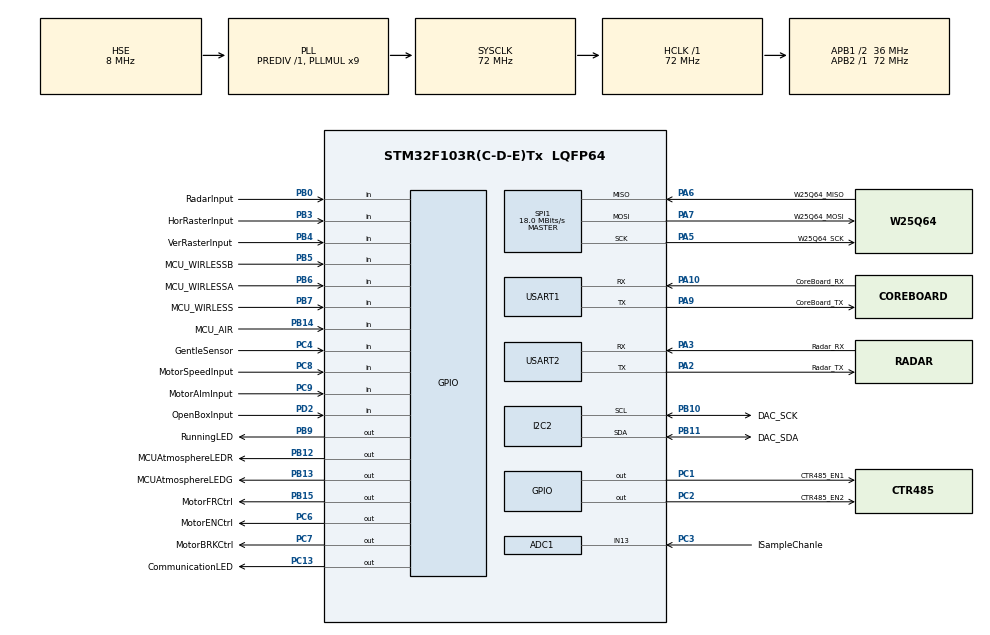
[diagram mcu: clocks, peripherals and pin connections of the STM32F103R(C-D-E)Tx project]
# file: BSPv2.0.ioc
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ADC1.Channel-0\#ChannelRegularConversion=ADC_CHANNEL_13
ADC1.Channel-1\#ChannelRegularConversion=ADC_CHANNEL_TEMPSENSOR
ADC1.ContinuousConvMode=DISABLE
ADC1.DataAlign=ADC_DATAALIGN_RIGHT
ADC1.DiscontinuousConvMode=DISABLE
ADC1.EnableAnalogWatchDog=false
ADC1.EnableRegularConversion=ENABLE
ADC1.ExternalTrigConv=ADC_SOFTWARE_START
ADC1.InjNumberOfConversion=0
ADC1.NbrOfConversion=2
ADC1.NbrOfConversionFlag=1
ADC1.Rank-0\#ChannelRegularConversion=1
ADC1.Rank-1\#ChannelRegularConversion=2
ADC1.SamplingTime-0\#ChannelRegularConversion=ADC_SAMPLETIME_239CYCLES_5
ADC1.SamplingTime-1\#ChannelRegularConversion=ADC_SAMPLETIME_239CYCLES_5
ADC1.ScanConvMode=ADC_SCAN_ENABLE
ADC1.master=1
Dma.ADC1.0.Direction=DMA_PERIPH_TO_MEMORY
Dma.ADC1.0.Instance=DMA1_Channel1
Dma.ADC1.0.MemDataAlignment=DMA_MDATAALIGN_WORD
Dma.ADC1.0.MemInc=DMA_MINC_ENABLE
Dma.ADC1.0.Mode=DMA_CIRCULAR
Dma.ADC1.0.PeriphDataAlignment=DMA_PDATAALIGN_WORD
Dma.ADC1.0.PeriphInc=DMA_PINC_DISABLE
Dma.ADC1.0.Priority=DMA_PRIORITY_LOW
Dma.Request0=ADC1
Dma.Request1=USART1_RX
Dma.Request2=USART2_RX
Dma.USART1_RX.1.Direction=DMA_PERIPH_TO_MEMORY
Dma.USART1_RX.1.Instance=DMA1_Channel5
Dma.USART1_RX.1.MemDataAlignment=DMA_MDATAALIGN_BYTE
Dma.USART1_RX.1.MemInc=DMA_MINC_ENABLE
Dma.USART1_RX.1.Mode=DMA_NORMAL
Dma.USART1_RX.1.PeriphDataAlignment=DMA_PDATAALIGN_BYTE
Dma.USART1_RX.1.PeriphInc=DMA_PINC_DISABLE
Dma.USART1_RX.1.Priority=DMA_PRIORITY_LOW
Dma.USART2_RX.2.Direction=DMA_PERIPH_TO_MEMORY
Dma.USART2_RX.2.Instance=DMA1_Channel6
Dma.USART2_RX.2.MemDataAlignment=DMA_MDATAALIGN_BYTE
Dma.USART2_RX.2.MemInc=DMA_MINC_ENABLE
Dma.USART2_RX.2.Mode=DMA_NORMAL
Dma.USART2_RX.2.PeriphDataAlignment=DMA_PDATAALIGN_BYTE
Dma.USART2_RX.2.PeriphInc=DMA_PINC_DISABLE
Dma.USART2_RX.2.Priority=DMA_PRIORITY_LOW
Mcu.Family=STM32F1
Mcu.Name=STM32F103R(C-D-E)Tx
Mcu.Package=LQFP64
NVIC.ADC1_2_IRQn=true\:0\:0\:false\:true\:true\:10\:true
NVIC.DMA1_Channel1_IRQn=true\:0\:0\:false\:true\:true\:5\:false
NVIC.DMA1_Channel5_IRQn=true\:0\:0\:false\:true\:true\:7\:false
NVIC.DMA1_Channel6_IRQn=true\:0\:0\:false\:true\:true\:8\:false
NVIC.I2C2_ER_IRQn=true\:0\:0\:false\:true\:true\:12\:true
NVIC.I2C2_EV_IRQn=true\:0\:0\:false\:true\:true\:11\:true
NVIC.PriorityGroup=NVIC_PRIORITYGROUP_4
NVIC.SPI1_IRQn=true\:0\:0\:false\:false\:true\:true
NVIC.TIM4_IRQn=true\:0\:0\:false\:true\:true\:4\:true
NVIC.TIM5_IRQn=true\:0\:0\:false\:true\:true\:3\:true
NVIC.TIM6_IRQn=true\:0\:0\:false\:false\:true\:true
NVIC.USART1_IRQn=true\:0\:0\:false\:true\:true\:1\:true
NVIC.USART2_IRQn=true\:0\:0\:false\:true\:true\:2\:true
PA10.GPIO_Label=CoreBoard_RX
PA10.GPIO_PuPd=GPIO_PULLUP
PA10.Mode=Asynchronous
PA10.Signal=USART1_RX
PA13.Mode=Serial_Wire
PA13.Signal=SYS_JTMS-SWDIO
PA14.Mode=Serial_Wire
PA14.Signal=SYS_JTCK-SWCLK
PA2.GPIO_Label=Radar_TX
PA2.Mode=Asynchronous
PA2.Signal=USART2_TX
PA3.GPIO_Label=Radar_RX
PA3.GPIO_PuPd=GPIO_PULLUP
PA3.Mode=Asynchronous
PA3.Signal=USART2_RX
PA5.GPIO_Label=W25Q64_SCK
PA5.Mode=Full_Duplex_Master
PA5.Signal=SPI1_SCK
PA6.GPIO_Label=W25Q64_MISO
PA6.Mode=Full_Duplex_Master
PA6.Signal=SPI1_MISO
PA7.GPIO_Label=W25Q64_MOSI
PA7.Mode=Full_Duplex_Master
PA7.Signal=SPI1_MOSI
PA9.GPIO_Label=CoreBoard_TX
PA9.Mode=Asynchronous
PA9.Signal=USART1_TX
PB0.GPIO_Label=RadarInput
PB0.GPIO_PuPd=GPIO_PULLUP
PB0.Signal=GPIO_Input
PB10.GPIO_Label=DAC_SCK
PB10.Mode=I2C
PB10.Signal=I2C2_SCL
PB11.GPIO_Label=DAC_SDA
PB11.Mode=I2C
PB11.Signal=I2C2_SDA
PB12.GPIO_Label=MCUAtmosphereLEDR
PB12.Signal=GPIO_Output
PB13.GPIO_Label=MCUAtmosphereLEDG
PB13.Signal=GPIO_Output
PB14.GPIO_Label=MCU_AIR
PB14.Signal=GPIO_Input
PB15.GPIO_Label=MotorFRCtrl
PB15.Signal=GPIO_Output
PB3.GPIO_Label=HorRasterInput
PB3.GPIO_PuPd=GPIO_PULLUP
PB3.Signal=GPIO_Input
PB4.GPIO_Label=VerRasterInput
PB4.GPIO_PuPd=GPIO_PULLDOWN
PB4.Signal=GPIO_Input
PB5.GPIO_Label=MCU_WIRLESSB
PB5.Signal=GPIO_Input
PB6.GPIO_Label=MCU_WIRLESSA
PB6.Signal=GPIO_Input
PB7.GPIO_Label=MCU_WIRLESS
PB7.GPIO_PuPd=GPIO_PULLUP
PB7.Signal=GPIO_Input
PB9.GPIO_Label=RunningLED
PB9.Signal=GPIO_Output
PC1.GPIO_Label=CTR485_EN1
PC1.GPIO_ModeDefaultOutputPP=GPIO_MODE_OUTPUT_PP
PC1.PinState=GPIO_PIN_RESET
PC1.Signal=GPIO_Output
PC13-TAMPER-RTC.GPIO_Label=CommunicationLED
PC13-TAMPER-RTC.Signal=GPIO_Output
PC2.GPIO_Label=CTR485_EN2
PC2.Signal=GPIO_Output
PC3.GPIO_Label=ISampleChanle
PC3.Signal=ADCx_IN13
PC4.GPIO_Label=GentleSensor
PC4.GPIO_PuPd=GPIO_PULLUP
PC4.Signal=GPIO_Input
PC6.GPIO_Label=MotorENCtrl
PC6.Signal=GPIO_Output
PC7.GPIO_Label=MotorBRKCtrl
PC7.Signal=GPIO_Output
PC8.GPIO_Label=MotorSpeedInput
PC8.GPIO_PuPd=GPIO_PULLUP
PC8.Signal=GPIO_Input
PC9.GPIO_Label=MotorAlmInput
PC9.GPIO_PuPd=GPIO_PULLDOWN
PC9.Signal=GPIO_Input
PD0-OSC_IN.Mode=HSE-External-Oscillator
PD0-OSC_IN.Signal=RCC_OSC_IN
PD1-OSC_OUT.Mode=HSE-External-Oscillator
PD1-OSC_OUT.Signal=RCC_OSC_OUT
PD2.GPIO_Label=OpenBoxInput
PD2.Signal=GPIO_Input
ProjectManager.HeapSize=0x200
ProjectManager.StackSize=0x400
ProjectManager.TargetToolchain=EWARM
RCC.ADCPresc=RCC_ADCPCLK2_DIV6
RCC.AHBFreq_Value=72000000
RCC.APB1CLKDivider=RCC_HCLK_DIV2
RCC.APB1Freq_Value=36000000
RCC.APB1TimFreq_Value=72000000
RCC.APB2Freq_Value=72000000
RCC.APB2TimFreq_Value=72000000
RCC.HCLKFreq_Value=72000000
RCC.PLLMUL=RCC_PLL_MUL9
RCC.PLLSourceVirtual=RCC_PLLSOURCE_HSE
RCC.SYSCLKFreq_VALUE=72000000
RCC.SYSCLKSource=RCC_SYSCLKSOURCE_PLLCLK
RCC.USBFreq_Value=72000000
SH.ADCx_IN13.0=ADC1_IN13,IN13
SPI1.BaudRatePrescaler=SPI_BAUDRATEPRESCALER_4
SPI1.CalculateBaudRate=18.0 MBits/s
SPI1.DataSize=SPI_DATASIZE_16BIT
SPI1.Direction=SPI_DIRECTION_2LINES
SPI1.Mode=SPI_MODE_MASTER
SPI1.VirtualType=VM_MASTER
TIM4.Period=50-1
TIM4.Prescaler=72 - 1
TIM5.Period=1000-1
TIM5.Prescaler=72 - 1
TIM6.Period=200-1
TIM6.Prescaler=72-1
USART1.VirtualMode=VM_ASYNC
USART2.VirtualMode=VM_ASYNC
VP_ADC1_TempSens_Input.Mode=IN-TempSens
VP_TIM4_VS_ClockSourceINT.Mode=Internal
VP_TIM5_VS_ClockSourceINT.Mode=Internal
VP_TIM6_VS_ClockSourceINT.Mode=Enable_Timer
board=BSPv2.0

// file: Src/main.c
/**
  ******************************************************************************
  * @file           : main.c
  * @brief          : Main program body
  ******************************************************************************
  ** This notice applies to any and all portions of this file
  * that are not between comment pairs USER CODE BEGIN and
  * USER CODE END. Other portions of this file, whether
  * inserted by the user or by software development tools
  * are owned by their respective copyright owners.
  *
  * COPYRIGHT(c) 2018 STMicroelectronics
  *
  * Redistribution and use in source and binary forms, with or without modification,
  * are permitted provided that the following conditions are met:
  *   1. Redistributions of source code must retain the above copyright notice,
  *      this list of conditions and the following disclaimer.
  *   2. Redistributions in binary form must reproduce the above copyright notice,
  *      this list of conditions and the following disclaimer in the documentation
  *      and/or other materials provided with the distribution.
  *   3. Neither the name of STMicroelectronics nor the names of its contributors
  *      may be used to endorse or promote products derived from this software
  *      without specific prior written permission.
  *
  * THIS SOFTWARE IS PROVIDED BY THE COPYRIGHT HOLDERS AND CONTRIBUTORS "AS IS"
  * AND ANY EXPRESS OR IMPLIED WARRANTIES, INCLUDING, BUT NOT LIMITED TO, THE
  * IMPLIED WARRANTIES OF MERCHANTABILITY AND FITNESS FOR A PARTICULAR PURPOSE ARE
  * DISCLAIMED. IN NO EVENT SHALL THE COPYRIGHT HOLDER OR CONTRIBUTORS BE LIABLE
  * FOR ANY DIRECT, INDIRECT, INCIDENTAL, SPECIAL, EXEMPLARY, OR CONSEQUENTIAL
  * DAMAGES (INCLUDING, BUT NOT LIMITED TO, PROCUREMENT OF SUBSTITUTE GOODS OR
  * SERVICES; LOSS OF USE, DATA, OR PROFITS; OR BUSINESS INTERRUPTION) HOWEVER
  * CAUSED AND ON ANY THEORY OF LIABILITY, WHETHER IN CONTRACT, STRICT LIABILITY,
  * OR TORT (INCLUDING NEGLIGENCE OR OTHERWISE) ARISING IN ANY WAY OUT OF THE USE
  * OF THIS SOFTWARE, EVEN IF ADVISED OF THE POSSIBILITY OF SUCH DAMAGE.
  *
  ******************************************************************************
  */
#include "main.h"
#include "stm32f1xx_hal.h"
#include "adc.h"
#include "dma.h"
#include "i2c.h"
#include "spi.h"
#include "tim.h"
#include "usart.h"
#include "gpio.h"

/* USER CODE BEGIN Includes */
#include "bsp_gentlesensor.h"
#include "bsp_common.h"
#include "bsp_motor.h"
#include "bsp_led.h"
#include "BSP_DAC5571.h"
#include "bsp_DataTransmissionLayer.h"
#include "bsp_ProtocolLayer.h"
#include "bsp_AirSensor.h"
#include "bsp_Log.h"
#include "bsp_RemoteControl.h"

/* USER CODE END Includes */

/* USER CODE BEGIN PV */
/* Private variables ---------------------------------------------------------*/
/*软件版本号*/
#define  CODEVERSION		0x0201

WIRLESS gWIRLESS;
MOTORMACHINE gMotorMachine;
GPIOSTATUSDETECTION gGentleSensorStatusDetection;
AirSensor gAirSensor;

//开闸控速矩阵
uint8_t Speed15SBuf[300] = {
 47 , 52 , 56 , 59 , 62 , 64 , 67 , 69 , 71 , 73 ,
 75 , 77 , 79 , 80 , 82 , 83 , 85 , 86 , 88 , 89 ,
 91 , 92 , 93 , 94 , 96 , 97 , 98 , 99 ,100 ,102 ,
103 ,104 ,105 ,106 ,107 ,108 ,109 ,110 ,111 ,112 ,
113 ,114 ,115 ,116 ,117 ,118 ,118 ,119 ,120 ,121 ,
122 ,123 ,124 ,124 ,125 ,126 ,127 ,128 ,129 ,129 ,
130 ,131 ,132 ,132 ,133 ,134 ,135 ,135 ,136 ,137 ,
138 ,138 ,139 ,140 ,141 ,141 ,142 ,143 ,143 ,144 ,
145 ,145 ,146 ,147 ,147 ,148 ,149 ,149 ,150 ,151 ,
151 ,152 ,153 ,153 ,154 ,154 ,155 ,156 ,156 ,157 ,
158 ,158 ,159 ,159 ,160 ,161 ,161 ,162 ,162 ,163 ,
164 ,164 ,165 ,165 ,166 ,166 ,167 ,168 ,168 ,169 ,
169 ,170 ,170 ,171 ,171 ,172 ,173 ,173 ,174 ,174 ,
175 ,175 ,176 ,176 ,177 ,177 ,178 ,178 ,179 ,179 ,
180 ,180 ,181 ,181 ,182 ,182 ,183 ,183 ,184 ,184 ,
184 ,183 ,183 ,182 ,182 ,181 ,181 ,180 ,180 ,179 ,
179 ,178 ,178 ,177 ,177 ,176 ,176 ,175 ,175 ,174 ,
174 ,173 ,173 ,172 ,171 ,171 ,170 ,170 ,169 ,169 ,
168 ,168 ,167 ,166 ,166 ,165 ,165 ,164 ,164 ,163 ,
162 ,162 ,161 ,161 ,160 ,159 ,159 ,158 ,158 ,157 ,
156 ,156 ,155 ,154 ,154 ,153 ,153 ,152 ,151 ,151 ,
150 ,149 ,149 ,148 ,147 ,147 ,146 ,145 ,145 ,144 ,
143 ,143 ,142 ,141 ,141 ,140 ,139 ,138 ,138 ,137 ,
136 ,135 ,135 ,134 ,133 ,132 ,132 ,131 ,130 ,129 ,
129 ,128 ,127 ,126 ,125 ,124 ,124 ,123 ,122 ,121 ,
120 ,119 ,118 ,118 ,117 ,116 ,115 ,114 ,113 ,112 ,
111 ,110 ,109 ,108 ,107 ,106 ,105 ,104 ,103 ,102 ,
100 , 99 , 98 , 97 , 96 , 94 , 93 , 92 , 91 , 89 ,
 88 , 86 , 85 , 83 , 82 , 80 , 79 , 77 , 75 , 73 ,
 71 , 69 , 67 , 64 , 62 , 59 , 56 , 52 , 47 , 35
};

uint8_t	  gWirlessFlag;

uint8_t   gWirlessOpenCurrentReadVal;
uint8_t   gWirlessOpenLastReadVal;
uint16_t  gWirlessOpenCnt;

uint8_t gwirlessCloseCurrentReadVal;
uint8_t gWirlessCloseLastReadVal;

uint8_t	gWirlessStopCurrentReadVal;
uint8_t gWirlessStopLastReadVal;

uint8_t	  gTimeoutFlag;	//开闸超时标记位，如果超时发送车未进场
uint8_t   gCarEnteredFlag; //车辆已经进场标记位

uint16_t  OpenSpeedCnt;
uint8_t   OpenSpeedFlag;

uint32_t gXDataBuffer[10];
uint32_t gADCBuffer[10];
uint32_t gICurrentValue;
uint16_t gICurrent;
uint8_t	 gICurrentValueBuff[2];

/*存放用于读取的电流数据*/
uint16_t gXDataBuf[10];
uint8_t  xCnt;
uint8_t  xSensorCnt;
uint16_t Xavg;
uint16_t AboveXAvg = 0x0FF;//2A电流时认为触发电子防砸

uint8_t gComingCarFlag;

uint8_t gHorCurrentRedVal;
uint8_t gHorLastCurrentRedVal;

uint8_t gVerCurrentRedVal;
uint8_t gVerLastRedVal;

uint8_t gStepCnterCurrentRedVal;
uint8_t gStepCnterLastRedVal;

uint8_t gLastStepValue;
uint8_t gCurrentStepValue;

uint8_t gTIM6Cnt;
uint8_t gTIM6Flag;
uint8_t gTIM6TwoFlag;
uint16_t gSpeed;

/*氛围灯标记以及氛围灯控制计时*/
uint8_t gAtmosphereTimFlag;
uint16_t gAtmosphereTimCnt;

/*关闭道闸定时器标记*/
uint8_t gCloseFlag;
uint32_t gCloseTimCnt;

/*定时日志上报*/
uint8_t  gReportLogFlag;
uint32_t gReportLogTimCnt;
/* USER CODE END PV */

void SystemClock_Config(void);
static void MX_NVIC_Init(void);

/* USER CODE BEGIN PFP */
/* Private function prototypes -----------------------------------------------*/
void FilterADCSignals(uint16_t xData);
void CheckCarEnteredFlag(void);
/* USER CODE END PFP */

int main(void)
{
  /* USER CODE BEGIN 1 */
	uint8_t i = 0;
  /* USER CODE END 1 */

  /* MCU Configuration----------------------------------------------------------*/

  /* Reset of all peripherals, Initializes the Flash interface and the Systick. */
  HAL_Init();

  /* Configure the system clock */
  SystemClock_Config();

  /* Initialize all configured peripherals */
  MX_GPIO_Init();
  MX_DMA_Init();
  MX_ADC1_Init();
  MX_I2C2_Init();
  MX_SPI1_Init();
  MX_TIM4_Init();
  MX_TIM5_Init();
  MX_USART1_UART_Init();
  MX_USART2_UART_Init();
  MX_TIM6_Init();

  /* Initialize interrupts */
  MX_NVIC_Init();
  /* USER CODE BEGIN 2 */
	HAL_TIM_Base_Start_IT(&htim4);//50us
	HAL_TIM_Base_Start_IT(&htim5);//1ms
	HAL_TIM_Base_Start_IT(&htim6);//5ms
	/*获取电流值和温度信息*/
	HAL_ADC_Start_DMA(&hadc1,(uint32_t*)&gADCBuffer,10);

	BSP_MotorInit();
	BSP_RUNNINGLED_ON();
	BSP_AirSensor_Init(5);
	BSP_GentleSensorInit();
	BSP_Log_Init(0x01020304);
	BSP_DriverBoardProtocolInit();
	BSP_LeftDoorBoardProtocolInit();
	BSP_DAC5571_Init(NormalOperationMode);

	BSP_DAC5571_WriteValue(NormalOperationMode, 200);
  /* USER CODE END 2 */

  /* Infinite loop */
  while (1)
  {

  /* USER CODE BEGIN 3 */
	  BSP_HandingUartDataFromDriverBoard();
	  BSP_HandingDriverBoardRequest();
	  BSP_SendAckData();

	  BSP_MotorCheckA();
	  BSP_MotorActionA();

	  /*氛围灯控制*/
	  if (gAtmosphereTimFlag)
	  {
		  BSP_LEDCheck();
		  BSP_Log_UpAtmoshereStatus(gComingCarFlag);
		  gAtmosphereTimFlag = 0;
	  }

	  CheckCarEnteredFlag();

	  /*定时上报日志*/
	  if (gReportLogFlag)
	  {
		  BSP_Log_UpMotorStatus(gMotorMachine.RunningState);
		  BSP_Log_UpGentleStatus(gGentleSensorStatusDetection.GpioCheckedFlag);
		  BSP_Log_UpAirSensorStatus(gAirSensor.CheckedFlag);
		  BSP_Log_CheckReportInfo();
		  gReportLogFlag = 0;
	  }

          /* 在开闸的过程中每50ms更新一次数据值，进行调速 */
          if(gTIM6TwoFlag)
          {
            if(OpenSpeedFlag)
            {
              BSP_DAC5571_WriteValue(NormalOperationMode,Speed15SBuf[gSpeed]);
              gSpeed++;
              if(gSpeed > 299)
              {
                gSpeed = 299;
              }
            }
            else
            {
              gSpeed = 0;
            }
            gTIM6TwoFlag = 0;
          }

	  /* 在开闸的过程中 每五个毫秒获取一次电流值 */
	  if (gTIM6Flag)
	  {
		  gTIM6Flag = 0;
		  for (i = 0; i < 10;)
		  {
			  gICurrentValue += gADCBuffer[i++];
			  i++;
		  }

		  gICurrentValue /= 5;
		  gICurrentValueBuff[0] = (uint8_t)(gICurrentValue >> 8);
		  gICurrentValueBuff[1] = (uint8_t)(gICurrentValue);
		  if(DOWNDIR == gMotorMachine.RunDir && gMotorMachine.RunningState)
		  {
			  FilterADCSignals(gICurrentValue);
		  }

		  if (UPDIR == gMotorMachine.RunDir && gMotorMachine.RunningState)
		  {
			  if (gICurrentValue > gICurrent)
			  {
				  gICurrent = gICurrentValue;
				  BSP_Log_UpICurrentValue(gICurrent);
			  }
		  }

	  }
  }
  /* USER CODE END 3 */

}

void SystemClock_Config(void)
{

  RCC_OscInitTypeDef RCC_OscInitStruct;
  RCC_ClkInitTypeDef RCC_ClkInitStruct;
  RCC_PeriphCLKInitTypeDef PeriphClkInit;

    /**Initializes the CPU, AHB and APB busses clocks
    */
  RCC_OscInitStruct.OscillatorType = RCC_OSCILLATORTYPE_HSE;
  RCC_OscInitStruct.HSEState = RCC_HSE_ON;
  RCC_OscInitStruct.HSEPredivValue = RCC_HSE_PREDIV_DIV1;
  RCC_OscInitStruct.HSIState = RCC_HSI_ON;
  RCC_OscInitStruct.PLL.PLLState = RCC_PLL_ON;
  RCC_OscInitStruct.PLL.PLLSource = RCC_PLLSOURCE_HSE;
  RCC_OscInitStruct.PLL.PLLMUL = RCC_PLL_MUL9;
  if (HAL_RCC_OscConfig(&RCC_OscInitStruct) != HAL_OK)
  {
    _Error_Handler(__FILE__, __LINE__);
  }

    /**Initializes the CPU, AHB and APB busses clocks
    */
  RCC_ClkInitStruct.ClockType = RCC_CLOCKTYPE_HCLK|RCC_CLOCKTYPE_SYSCLK
                              |RCC_CLOCKTYPE_PCLK1|RCC_CLOCKTYPE_PCLK2;
  RCC_ClkInitStruct.SYSCLKSource = RCC_SYSCLKSOURCE_PLLCLK;
  RCC_ClkInitStruct.AHBCLKDivider = RCC_SYSCLK_DIV1;
  RCC_ClkInitStruct.APB1CLKDivider = RCC_HCLK_DIV2;
  RCC_ClkInitStruct.APB2CLKDivider = RCC_HCLK_DIV1;

  if (HAL_RCC_ClockConfig(&RCC_ClkInitStruct, FLASH_LATENCY_2) != HAL_OK)
  {
    _Error_Handler(__FILE__, __LINE__);
  }

  PeriphClkInit.PeriphClockSelection = RCC_PERIPHCLK_ADC;
  PeriphClkInit.AdcClockSelection = RCC_ADCPCLK2_DIV6;
  if (HAL_RCCEx_PeriphCLKConfig(&PeriphClkInit) != HAL_OK)
  {
    _Error_Handler(__FILE__, __LINE__);
  }

    /**Configure the Systick interrupt time
    */
  HAL_SYSTICK_Config(HAL_RCC_GetHCLKFreq()/1000);

    /**Configure the Systick
    */
  HAL_SYSTICK_CLKSourceConfig(SYSTICK_CLKSOURCE_HCLK);

  /* SysTick_IRQn interrupt configuration */
  HAL_NVIC_SetPriority(SysTick_IRQn, 0, 0);
}

/**
  * @brief NVIC Configuration.
  * @retval None
  */
static void MX_NVIC_Init(void)
{
  /* USART1_IRQn interrupt configuration */
  HAL_NVIC_SetPriority(USART1_IRQn, 0, 0);
  HAL_NVIC_EnableIRQ(USART1_IRQn);
  /* USART2_IRQn interrupt configuration */
  HAL_NVIC_SetPriority(USART2_IRQn, 0, 0);
  HAL_NVIC_EnableIRQ(USART2_IRQn);
  /* TIM5_IRQn interrupt configuration */
  HAL_NVIC_SetPriority(TIM5_IRQn, 0, 0);
  HAL_NVIC_EnableIRQ(TIM5_IRQn);
  /* TIM4_IRQn interrupt configuration */
  HAL_NVIC_SetPriority(TIM4_IRQn, 0, 0);
  HAL_NVIC_EnableIRQ(TIM4_IRQn);
  /* DMA1_Channel1_IRQn interrupt configuration */
  HAL_NVIC_SetPriority(DMA1_Channel1_IRQn, 0, 0);
  HAL_NVIC_EnableIRQ(DMA1_Channel1_IRQn);
  /* DMA1_Channel5_IRQn interrupt configuration */
  HAL_NVIC_SetPriority(DMA1_Channel5_IRQn, 0, 0);
  HAL_NVIC_EnableIRQ(DMA1_Channel5_IRQn);
  /* DMA1_Channel6_IRQn interrupt configuration */
  HAL_NVIC_SetPriority(DMA1_Channel6_IRQn, 0, 0);
  HAL_NVIC_EnableIRQ(DMA1_Channel6_IRQn);
  /* ADC1_2_IRQn interrupt configuration */
  HAL_NVIC_SetPriority(ADC1_2_IRQn, 0, 0);
  HAL_NVIC_EnableIRQ(ADC1_2_IRQn);
  /* I2C2_EV_IRQn interrupt configuration */
  HAL_NVIC_SetPriority(I2C2_EV_IRQn, 0, 0);
  HAL_NVIC_EnableIRQ(I2C2_EV_IRQn);
  /* I2C2_ER_IRQn interrupt configuration */
  HAL_NVIC_SetPriority(I2C2_ER_IRQn, 0, 0);
  HAL_NVIC_EnableIRQ(I2C2_ER_IRQn);
}

/* USER CODE BEGIN 4 */
void HAL_TIM_PeriodElapsedCallback(TIM_HandleTypeDef *htim)
{
	/* Prevent unused argument(s) compilation warning */
	UNUSED(htim);
	/* NOTE : This function Should not be modified, when the callback is needed,
	          the __HAL_TIM_PeriodElapsedCallback could be implemented in the user file
	*/
	/* 50us */
	if (htim4.Instance == htim->Instance)
	{

		gWirlessOpenCurrentReadVal = HAL_GPIO_ReadPin(MCU_WIRLESSOPEN_GPIO_Port, MCU_WIRLESSOPEN_Pin);
		if (0 == gWirlessOpenCurrentReadVal && 0 == gWirlessOpenLastReadVal)
		{
			if (gWirlessFlag)
			{
				if (0 == gWIRLESS.OpenFlag)
				{
					gWirlessOpenCnt++;
					if (gWirlessOpenCnt > 20)
					{
						gWIRLESS.OpenFlag = 1;
						gWIRLESS.STopFlag  = 1;
						gWirlessOpenCnt = 0;
						gWirlessFlag = 0;
					}
				}
				else
				{
					gWirlessOpenCnt++;
					if (gWirlessOpenCnt > 20)
					{
						gWIRLESS.OpenFlag = 0;
						gWIRLESS.STopFlag  = 0;
						gWirlessOpenCnt = 0;
						gWirlessFlag = 0;
					}
				}
			}
		}
		else
		{
			gWirlessFlag = 1;
		}
		gWirlessOpenLastReadVal = gWirlessOpenCurrentReadVal;

		/**/
		gHorCurrentRedVal = HAL_GPIO_ReadPin(HorRasterInput_GPIO_Port, HorRasterInput_Pin);
		gVerCurrentRedVal = HAL_GPIO_ReadPin(VerRasterInput_GPIO_Port, VerRasterInput_Pin);

		if (0 == gHorCurrentRedVal && 0 == gHorLastCurrentRedVal)
		{
			gMotorMachine.HorFilterCnt++;
			if (gMotorMachine.HorFilterCnt > 10)
			{
				gMotorMachine.HorizontalRasterState = 1;
				gMotorMachine.HorFilterCnt = 0;
				if (DOWNDIR == gMotorMachine.RunDir)	//检测到杆在水平位置时值运动
				{
					gMotorMachine.RunDir = UPDIR;
					gMotorMachine.RunningState = 0;
					gMotorMachine.StepCnt = 0;
					BSP_MotorStop();
					gICurrent = 0;
				}
			}
		}
		else
		{
			gMotorMachine.HorizontalRasterState = 0;
			gMotorMachine.HorFilterCnt = 0;
		}
		gHorLastCurrentRedVal = gHorCurrentRedVal;

		//垂直位杆监测
		if (0 == gVerCurrentRedVal && 0 == gVerLastRedVal)
		{
			gMotorMachine.VerFilterCnt++;
			if (gMotorMachine.VerFilterCnt > 10)
			{
				gMotorMachine.VerticalRasterState = 1;
				gMotorMachine.VerFilterCnt = 0;
				if (UPDIR == gMotorMachine.RunDir)
				{
					gMotorMachine.RunDir = DOWNDIR;
					gMotorMachine.RunningState = 0;
					gMotorMachine.StepCnt = 0;
					BSP_MotorStop();
					gICurrent = 0;
					//HAL_TIM_Base_Stop_IT(&htim6); //垂直到位关闭定时器中断
					gMotorMachine.EncounteredFlag = 0;//将遇阻反弹标记位清零
					gMotorMachine.DigitalAntiSmashingFlag = 0;//数字防砸标记位清空
					gCloseFlag = 1;//垂直到位，打开定时器，进行延时，延时后进行关闸
                                        OpenSpeedFlag = 0;
				}
			}
		}
		else
		{
			gMotorMachine.VerticalRasterState = 0;
			gMotorMachine.VerFilterCnt = 0;
		}
		gVerLastRedVal = gVerCurrentRedVal;

	}

	/* 1ms */
	if (htim5.Instance == htim->Instance)
	{
		/*地感检测*/
		gGentleSensorStatusDetection.GpioCurrentReadVal = HAL_GPIO_ReadPin(GentleSensor_GPIO_Port, GentleSensor_Pin);
		if (0 == gGentleSensorStatusDetection.GpioCurrentReadVal && 0 == gGentleSensorStatusDetection.GpioLastReadVal)
		{
			if (0 == gGentleSensorStatusDetection.GpioCheckedFlag)
			{
				gGentleSensorStatusDetection.GpioFilterCnt++;
				if (gGentleSensorStatusDetection.GpioFilterCnt > gGentleSensorStatusDetection.GpioFilterCntSum)
				{
					gGentleSensorStatusDetection.GpioStatusVal = 1;
					gGentleSensorStatusDetection.GpioFilterCnt = 0;
					gGentleSensorStatusDetection.GpioCheckedFlag = 1;
					gMotorMachine.GentleSensorFlag	 = 1;
					gComingCarFlag = 1;
				}
			}

		}
		else
		{
			if (gGentleSensorStatusDetection.GpioCheckedFlag)
			{
				gCloseFlag = 0; //车经过之后立即关闸
				gCarEnteredFlag = 1;
			}
			gMotorMachine.GentleSensorFlag = 0;
			gGentleSensorStatusDetection.GpioCheckedFlag  = 0;
			gGentleSensorStatusDetection.GpioStatusVal	  = 0;
			gGentleSensorStatusDetection.GpioFilterCnt    = 0;
			gGentleSensorStatusDetection.GpioSendDataFlag = 1;
			gComingCarFlag = 0;
		}
		gGentleSensorStatusDetection.GpioLastReadVal = gGentleSensorStatusDetection.GpioCurrentReadVal;

		if (gCloseFlag)
		{
			gCloseTimCnt++;
			if (gCloseTimCnt > 25000)//25s延时
			{
				gCloseFlag = 0;
				gCloseTimCnt = 0;
				gTimeoutFlag = 1;
			}
		}
		else
		{
			gCloseTimCnt = 0;
		}

		/* 雷达侦测 */

		/* 压力波探测 */
		gAirSensor.CurrentReadValue = HAL_GPIO_ReadPin(MCU_AIR_GPIO_Port, MCU_AIR_Pin);
		if (0 == gAirSensor.CurrentReadValue && 0 == gAirSensor.LastReadValue)
		{
			if (0 == gAirSensor.CheckedFlag)
			{
				gAirSensor.FilterCnt++;
				if (gAirSensor.FilterCnt > gAirSensor.FilterCntSum)
				{
					gAirSensor.CheckedFlag = 1;
					gAirSensor.FilterCnt = 0;
				}
			}
		}
		else
		{
			gAirSensor.CheckedFlag = 0;
			gAirSensor.FilterCnt = 0;
		}
		gAirSensor.LastReadValue = gAirSensor.CurrentReadValue;

		/* 数字防砸 */

		/* 日志计时定时器 */
		gReportLogTimCnt++;
		if (gReportLogTimCnt > 10000)
		{
			gReportLogFlag = 1;
			gReportLogTimCnt = 0;
		}
		/* 氛围灯 */
		gAtmosphereTimCnt++;
		if (gAtmosphereTimCnt > 200)
		{
			gAtmosphereTimFlag = 1;
			gAtmosphereTimCnt = 0;
		}

	}
	/* 5ms */
	if (htim6.Instance == htim->Instance)
	{
		gTIM6Flag = 1;
                gTIM6Cnt++;
                if(gTIM6Cnt > 1)
                {
                  gTIM6TwoFlag = 1;
                  gTIM6Cnt = 0;
                }

	}
}

void FilterADCSignals(uint16_t xData)
{
	/*如果电机处在运行状态且向下运行，则进行下一步的处理*/
	uint8_t  i;
	uint32_t temple;
	if (0 == xCnt)
	{
		Xavg = xData;
		return ;
	}

	if ((xData - Xavg) > AboveXAvg || (Xavg - xData) > AboveXAvg)
	{
		xSensorCnt++;
		if (xSensorCnt > 100)
		{
			/* 遇到阻碍，遇阻写标记位 */
			xSensorCnt = 0;
			gMotorMachine.DigitalAntiSmashingFlag = 1;
		}
	}
	else
	{
		xCnt++;
		gXDataBuffer[xCnt] = xData;
		if (xCnt > 10)
		{
			for (i = 0; i < 10; i++)
			{
				temple += gXDataBuffer[i];
			}
			temple /= 10;
			Xavg = temple;
		}
		xCnt = 0;
	}
}

void CheckCarEnteredFlag(void)
{
	//uint8_t i = 0;
	uint8_t pData[7];
	pData[0] = 0x5B;
	pData[1] = 0xE3;
	pData[3] = 0x00;
	pData[4] = 0x00;
	pData[6] = 0x5D;

	if (gCarEnteredFlag)
	{
		pData[2] = 0x00;//车辆入场
		pData[5] = 0xE3;
		gCarEnteredFlag = 0;
		BSP_SendDataToDriverBoard(pData, 7, 0xFFFF);
		return ;
	}

	if (gTimeoutFlag)
	{
		pData[2] = 0x01;//入场超时
		pData[5] = 0xE2;
		gTimeoutFlag = 0;
		BSP_SendDataToDriverBoard(pData, 7, 0xFFFF);
		return;
	}
}
/* USER CODE END 4 */

void _Error_Handler(char *file, int line)
{
  while(1)
  {
  }
}

/************************ (C) COPYRIGHT STMicroelectronics *****END OF FILE****/
